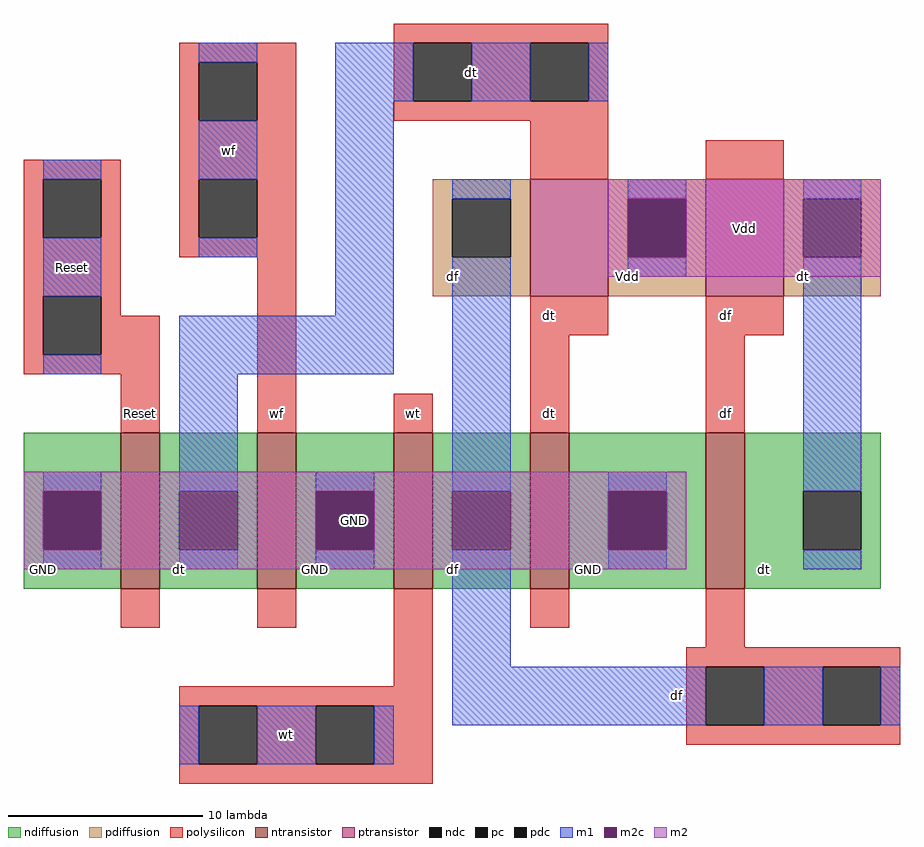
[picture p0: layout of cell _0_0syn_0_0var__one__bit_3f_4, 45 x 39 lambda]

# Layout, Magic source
magic
tech sky130l
<< ndiffusion >>
rect 8 9 13 12
rect 8 6 9 9
rect 12 6 13 9
rect 8 4 13 6
rect 15 9 20 12
rect 15 6 16 9
rect 19 6 20 9
rect 15 4 20 6
rect 22 9 27 12
rect 22 6 23 9
rect 26 6 27 9
rect 22 4 27 6
rect 29 9 34 12
rect 29 6 30 9
rect 33 6 34 9
rect 29 4 34 6
rect 36 9 43 12
rect 36 6 38 9
rect 41 6 43 9
rect 36 4 43 6
rect 45 9 52 12
rect 45 6 48 9
rect 51 6 52 9
rect 45 4 52 6
<< ndc >>
rect 9 6 12 9
rect 16 6 19 9
rect 23 6 26 9
rect 30 6 33 9
rect 38 6 41 9
rect 48 6 51 9
<< ntransistor >>
rect 13 4 15 12
rect 20 4 22 12
rect 27 4 29 12
rect 34 4 36 12
rect 43 4 45 12
<< pdiffusion >>
rect 29 24 34 25
rect 29 21 30 24
rect 33 21 34 24
rect 29 19 34 21
rect 38 24 43 25
rect 38 21 39 24
rect 42 21 43 24
rect 38 19 43 21
rect 47 24 52 25
rect 47 21 48 24
rect 51 21 52 24
rect 47 19 52 21
<< pdc >>
rect 30 21 33 24
rect 39 21 42 24
rect 48 21 51 24
<< ptransistor >>
rect 34 19 38 25
rect 43 19 47 25
<< polysilicon >>
rect 27 32 38 33
rect 16 31 22 32
rect 16 28 17 31
rect 20 28 22 31
rect 27 29 28 32
rect 31 29 34 32
rect 37 29 38 32
rect 27 28 38 29
rect 8 25 13 26
rect 8 22 9 25
rect 12 22 13 25
rect 8 19 13 22
rect 16 25 22 28
rect 34 25 38 28
rect 43 25 47 27
rect 16 22 17 25
rect 20 22 22 25
rect 16 21 22 22
rect 8 16 9 19
rect 12 18 13 19
rect 12 16 15 18
rect 8 15 15 16
rect 13 12 15 15
rect 20 12 22 21
rect 34 17 38 19
rect 43 17 47 19
rect 27 12 29 14
rect 34 12 36 17
rect 43 12 45 17
rect 13 2 15 4
rect 20 2 22 4
rect 27 -1 29 4
rect 34 2 36 4
rect 43 1 45 4
rect 16 -2 29 -1
rect 16 -5 17 -2
rect 20 -5 23 -2
rect 26 -5 29 -2
rect 42 0 53 1
rect 42 -3 43 0
rect 46 -3 49 0
rect 52 -3 53 0
rect 42 -4 53 -3
rect 16 -6 29 -5
<< pc >>
rect 17 28 20 31
rect 28 29 31 32
rect 34 29 37 32
rect 9 22 12 25
rect 17 22 20 25
rect 9 16 12 19
rect 17 -5 20 -2
rect 23 -5 26 -2
rect 43 -3 46 0
rect 49 -3 52 0
<< m1 >>
rect 17 31 20 32
rect 9 25 12 26
rect 9 19 12 22
rect 17 25 20 28
rect 17 21 20 22
rect 24 29 28 32
rect 31 29 34 32
rect 37 29 38 32
rect 24 18 27 29
rect 9 15 12 16
rect 16 15 27 18
rect 30 24 33 25
rect 9 9 12 10
rect 9 5 12 6
rect 16 9 19 15
rect 16 5 19 6
rect 23 9 26 10
rect 23 5 26 6
rect 30 9 33 21
rect 39 24 42 25
rect 39 20 42 21
rect 48 24 51 25
rect 30 0 33 6
rect 38 9 41 10
rect 38 5 41 6
rect 48 9 51 21
rect 48 5 51 6
rect 16 -5 17 -2
rect 20 -5 23 -2
rect 26 -5 27 -2
rect 30 -3 43 0
rect 46 -3 49 0
rect 52 -3 53 0
<< m2c >>
rect 9 6 12 9
rect 23 6 26 9
rect 39 21 42 24
rect 38 6 41 9
<< m2 >>
rect 38 24 52 25
rect 38 21 39 24
rect 42 21 52 24
rect 38 20 52 21
rect 8 9 42 10
rect 8 6 9 9
rect 12 6 23 9
rect 26 6 38 9
rect 41 6 42 9
rect 8 5 42 6
<< labels >>
rlabel ndiffusion 46 5 46 5 3 dt
rlabel pdiffusion 48 20 48 20 3 dt
rlabel polysilicon 44 13 44 13 3 df
rlabel polysilicon 44 18 44 18 3 df
rlabel ndiffusion 37 5 37 5 3 GND
rlabel pdiffusion 39 20 39 20 3 Vdd
rlabel polysilicon 35 13 35 13 3 dt
rlabel polysilicon 35 18 35 18 3 dt
rlabel ndiffusion 30 5 30 5 3 df
rlabel pdiffusion 30 20 30 20 3 df
rlabel polysilicon 28 13 28 13 3 wt
rlabel ndiffusion 23 5 23 5 3 GND
rlabel polysilicon 21 13 21 13 3 wf
rlabel ndiffusion 16 5 16 5 3 dt
rlabel polysilicon 14 13 14 13 3 Reset
rlabel ndiffusion 9 5 9 5 3 GND
flabel m2 38 20 52 25 0 FreeSans 11 0 0 0 Vdd
flabel m2 8 5 42 10 0 FreeSans 11 0 0 0 GND
flabel m1 9 15 12 26 0 FreeSans 11 0 0 0 Reset
port 3 nsew
flabel m1 17 21 20 32 0 FreeSans 11 0 0 0 wf
port 4 nsew
flabel m1 16 -5 27 -2 0 FreeSans 11 0 0 0 wt
port 5 nsew
flabel m1 24 29 38 32 0 FreeSans 11 0 0 0 dt
port 6 nsew
flabel m1 30 -3 53 0 0 FreeSans 11 0 0 0 df
port 7 nsew
<< end >>
